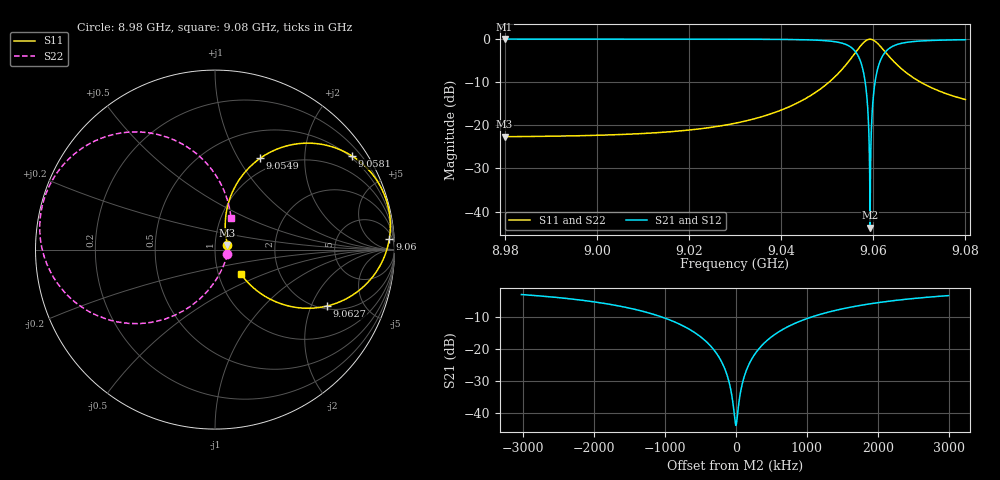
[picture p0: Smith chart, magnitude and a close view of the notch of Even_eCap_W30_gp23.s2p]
! Sonnet Data File
! From: emgraph Version : 16.52
! From Project: Resonator2_extremeCap
! Data is De-embedded
! Data File Written: 10/10/2017 20:29:21
!< HDATE 10/09/2017 23:04:37
!< MDATE 10/09/2017 23:04:37
!< PARAMS
!< Pwid1 = 2000.0
!< Pwid2 = 2000.0
!< Air_gap = 18.0
!< Width = 30.0
!< Gap = 23.0
!< END PARAMS
# GHZ S MA R 51.80000
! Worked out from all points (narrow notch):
!   1594 points, 8.98 GHz to 9.08 GHz, reference 51.8 ohm
!   highest |S21| = -0.02 dB at 8.98 GHz (marker M1); lowest = -43.7 dB at 9.0593 GHz (marker M2)
!   notch at M2: 43.4 dB deep, 507 kHz wide at half that depth
!   lowest |S11| = -22.7 dB at 8.98 GHz (marker M3), VSWR 1.16, Z = 59.4 + j3.09 ohm
!   |S11| at or under -10 dB: start of sweep to 9.0504 GHz; 9.07026 GHz to end of sweep
!   |S22| runs from -22.7 to -0.1 dB; largest |S21 - S12| = 0
!   S11 on the Smith chart (normalised r, x): 8.98 GHz: 1.15, +0.06; 9.0549 GHz: 0.83, +1.24; 9.0581 GHz: 0.44, +3.18; 9.06 GHz: 12, +27; 9.0627 GHz: 2.12, -2.60; 9.08 GHz: 1.28, -0.36
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8.98  0.07364 20.6  0.9973 -90.0  0.9973 -90.0  0.07361 -20.6
!< P1 F=8.98 Eeff=(6.44501582 -2.9712e-5) Z0=(50.6182877 1.16785e-4) R=0.0 C=0.0
!< P2 F=8.98 Eeff=(6.44501582 -2.9712e-5) Z0=(50.6182877 1.16785e-4) R=0.0 C=0.0
8.9967  0.07569 27.8  0.9971 -90.8  0.9971 -90.8  0.07565 -29.4
9.0134  0.0822 39.0  0.9966 -92.0  0.9966 -92.0  0.08214 -43.1
9.03  0.1054 55.9  0.9944 -94.4  0.9944 -94.4  0.1053 -64.8
9.0467  0.2257 73.4  0.9738 -102.6  0.9738 -102.6  0.2254 -98.8
9.051696  0.3649 72.4  0.9301 -111.3  0.9301 -111.3  0.3645 -115.4
9.054888  0.5673 63.7  0.8209 -124.7  0.8209 -124.7  0.5667 -133.7
9.056698  0.7623 50.9  0.6415 -139.9  0.6415 -139.9  0.7615 -151.7
9.058062  0.9244 34.4  0.3672 -157.9  0.3672 -157.9  0.9235 -172.0
9.0586  0.97 26.1  0.2182 -166.1  0.2182 -166.1  0.969 178.3
9.058993  0.989 19.7  0.09927 -171.0  0.09927 -171.0  0.9881 170.8
9.059175  0.993 16.7  0.04304 -169.3  0.04304 -169.3  0.9921 167.3
9.059243  0.9937 15.6  0.02238 -162.3  0.02238 -162.3  0.9928 166.0
9.059311  0.994 14.5  0.006498 -92.0  0.006498 -92.0  0.993 164.7
9.059401  0.9936 13.0  0.02869 -15.1  0.02869 -15.1  0.9926 162.9
9.059501  0.9923 11.3  0.05924 -10.1  0.05924 -10.1  0.9913 161.0
9.059986  0.973 3.5  0.2047 -14.0  0.2047 -14.0  0.9721 151.9
9.060909  0.8928 -9.6  0.4401 -27.4  0.4401 -27.4  0.8919 136.3
9.0627  0.6969 -26.9  0.7133 -46.5  0.7133 -46.5  0.6963 114.5
9.063334  0.6369 -30.8  0.768 -51.1  0.768 -51.1  0.6364 109.1
9.0685  0.3615 -43.6  0.9317 -69.8  0.9317 -69.8  0.3612 84.3
9.08  0.1985 -43.3  0.98 -80.0  0.98 -80.0  0.1983 63.3
